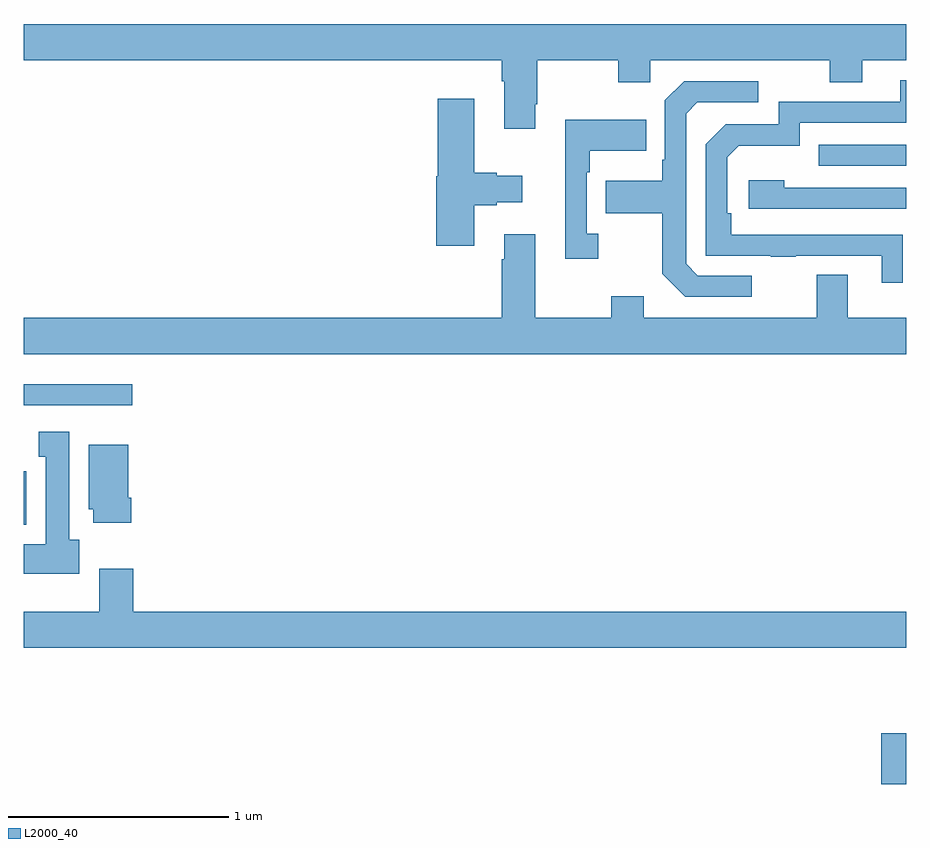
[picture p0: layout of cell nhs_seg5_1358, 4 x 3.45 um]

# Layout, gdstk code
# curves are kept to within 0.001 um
import gdstk
lib = gdstk.Library(unit=1e-6, precision=1e-09)
def R(c, l, rs):  # rectangles x0, y0, x1, y1
    for r in rs: c.add(gdstk.rectangle(r[:2], r[2:], *l))
def P(c, l, *ps):  # polygons
    for p in ps: c.add(gdstk.Polygon(p, *l))
L2000_40 = (2000, 40)

nhs_seg5_1358 = lib.new_cell('nhs_seg5_1358')
R(nhs_seg5_1358, L2000_40, [(196.886,866.799,197,867.028), (193,867.974,193.012,868.216), (193,868.515,193.492,868.612), (196.603,869.601,197,869.697)])
P(nhs_seg5_1358, L2000_40, [(195.319,869.881),(195.327,869.881),(195.327,870.08),(195.694,870.08),(195.694,869.981),(195.84,869.981),(195.84,870.08),(196.654,870.08),(196.654,869.981),(196.801,869.981),(196.801,870.08),(197,870.08),(197,870.244),(193,870.244),(193,870.08),(195.167,870.08),(195.167,869.984),(195.179,869.984),(195.179,869.769),(195.319,869.769)],
  [(196.985,869.288),(196.208,869.289),(196.208,869.386),(196.188,869.386),(196.188,869.64),(196.241,869.693),(196.518,869.693),(196.518,869.796),(197,869.796),(197,869.988),(196.973,869.988),(196.973,869.892),(196.422,869.892),(196.422,869.79),(196.182,869.79),(196.092,869.7),(196.092,869.193),(196.387,869.193),(196.387,869.188),(196.499,869.188),(196.499,869.193),(196.889,869.193),(196.889,869.07),(196.985,869.07)],
  [(196.3,869.103),(196.056,869.103),(196.002,869.157),(196.002,869.838),(196.053,869.889),(196.33,869.889),(196.33,869.985),(195.993,869.985),(195.906,869.898),(195.906,869.629),(195.894,869.629),(195.894,869.533),(195.637,869.533),(195.637,869.386),(195.894,869.386),(195.894,869.113),(195.999,869.007),(196.3,869.007)],
  [(195.043,869.423),(195.143,869.423),(195.143,869.435),(195.259,869.435),(195.259,869.557),(195.143,869.557),(195.143,869.57),(195.043,869.57),(195.043,869.905),(194.876,869.905),(194.876,869.553),(194.87,869.553),(194.87,869.238),(195.043,869.238)],
  [(195.604,869.294),(195.552,869.294),(195.552,869.573),(195.565,869.573),(195.565,869.669),(195.821,869.669),(195.821,869.809),(195.455,869.809),(195.455,869.181),(195.604,869.181)],
  [(197,869.502),(196.448,869.502),(196.448,869.536),(196.287,869.536),(196.287,869.406),(197,869.406)],
  [(197,868.912),(196.735,868.912),(196.735,869.107),(196.595,869.107),(196.595,868.912),(195.811,868.912),(195.811,869.011),(195.664,869.011),(195.664,868.912),(195.319,868.912),(195.319,869.29),(195.179,869.29),(195.179,869.177),(195.167,869.177),(195.167,868.912),(193,868.912),(193,868.748),(197,868.748)],
  [(193.252,867.906),(193.207,867.906),(193.207,868.396),(193.067,868.396),(193.067,868.283),(193.1,868.283),(193.1,867.886),(193,867.886),(193,867.752),(193.252,867.752)],
  [(193.487,868.096),(193.474,868.096),(193.474,868.336),(193.295,868.336),(193.295,868.044),(193.316,868.044),(193.316,867.984),(193.487,867.984)],
  [(197,867.58),(193.496,867.58),(193.496,867.775),(193.343,867.775),(193.343,867.58),(193,867.58),(193,867.416),(197,867.416)])

lib.write_gds('nhs_seg5_1358.gds')
